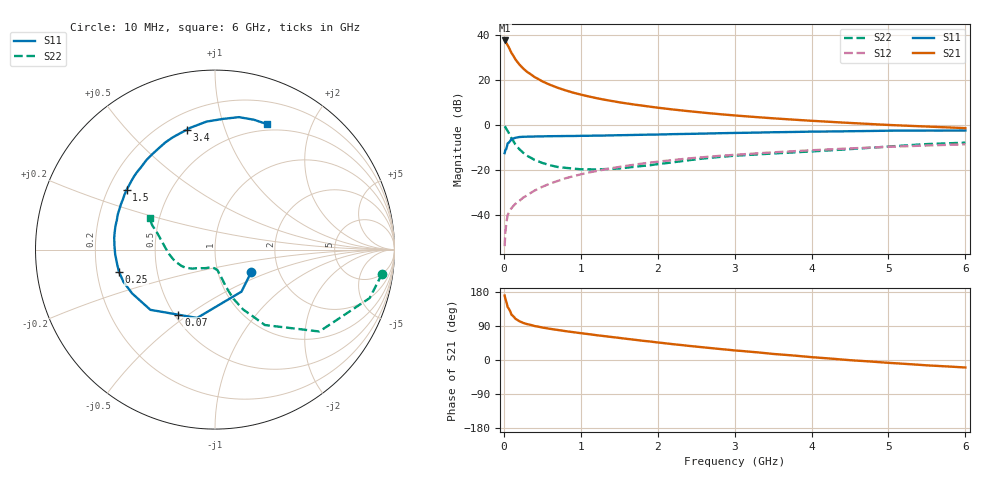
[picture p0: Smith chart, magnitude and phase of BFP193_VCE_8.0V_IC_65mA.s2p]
! Infineon Technologies  Discrete & RF Semiconductors
! BFP193
! VCE =  8.0 V,  IC =  65 mA
! Common Emitter S-Parameters:  Jan 2017
# GHz  S  MA  R  50
!  f  S11  S21  S12  S22
! GHz  MAG  ANG  MAG  ANG  MAG  ANG  MAG  ANG
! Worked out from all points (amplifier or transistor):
!   77 points, 10 MHz to 6 GHz, reference 50 ohm
!   highest |S21| = 37.7 dB at 10 MHz (marker M1)
!   |S21| within 3 dB of that: start of sweep to 63.07 MHz
!   unconditionally stable (mu >= 1): 510.6 MHz to 2.363 GHz
!   at 130 MHz: K = 0.63, MSG = 33.2 dB, |S12| = -35.8 dB
!   at 2.2 GHz: K = 1.01, MAG = 10.7 dB, |S12| = -15.6 dB
!   at 6 GHz: K = 0.91, MSG = 3.6 dB, |S12| = -8.6 dB
!   S11 on the Smith chart (normalised r, x): 10 MHz: 1.45, -0.38; 70 MHz: 0.52, -0.46; 250 MHz: 0.29, -0.10; 1.5 GHz: 0.28, +0.29; 3.4 GHz: 0.30, +0.75; 6 GHz: 0.43, +1.41
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0.01  0.2373 -31.1  76.95 170.1  0.002 82.3  0.9409 -8.2
0.02  0.2769 -57.8  74.73 161.4  0.0041 83.9  0.903 -17.4
0.05  0.3936 -104.7  60.17 139.6  0.0099 61.9  0.7392 -38.1
0.07  0.4161 -119.3  51.6 133.4  0.0116 61.4  0.638 -43.8
0.1  0.4922 -137.0  40.47 119.4  0.0141 60.8  0.504 -56.5
0.15  0.5224 -152.2  29.2 109.0  0.0176 59.3  0.3688 -64.8
0.2  0.5411 -160.7  22.63 102.6  0.0203 63.5  0.292 -69.5
0.25  0.5487 -166.9  18.39 98.0  0.0241 63.8  0.2429 -71.9
0.3  0.551 -171.2  15.43 94.8  0.027 65.7  0.2079 -74.0
0.4  0.5569 -177.4  11.75 89.6  0.0347 68.1  0.1669 -76.4
0.5  0.561 177.4  9.431 85.7  0.0421 68.8  0.1435 -78.8
0.6  0.5654 173.3  7.906 82.3  0.0497 69.1  0.1272 -81.2
0.7  0.5675 169.9  6.789 79.3  0.0568 69.7  0.1165 -82.9
0.9  0.571 163.3  5.289 73.5  0.0724 68.8  0.1075 -89.1
1.1  0.5782 157.1  4.359 68.3  0.0875 67.2  0.1033 -95.2
1.5  0.5944 145.9  3.223 58.3  0.1168 63.2  0.1078 -110.8
2.1  0.6214 130.0  2.331 44.1  0.1594 55.9  0.1412 -132.3
3.1  0.6717 108.8  1.591 23.7  0.223 43.4  0.2122 -156.2
3.4  0.6862 103.3  1.456 18.1  0.2407 40.0  0.2276 -162.2
4.1  0.7167 92.3  1.219 6.0  0.28 31.7  0.2647 -177.6
5.1  0.7501 78.5  0.99 -8.7  0.332 20.2  0.3409 163.1
6  0.757 67.4  0.856 -19.8  0.3729 10.1  0.4057 153.9
